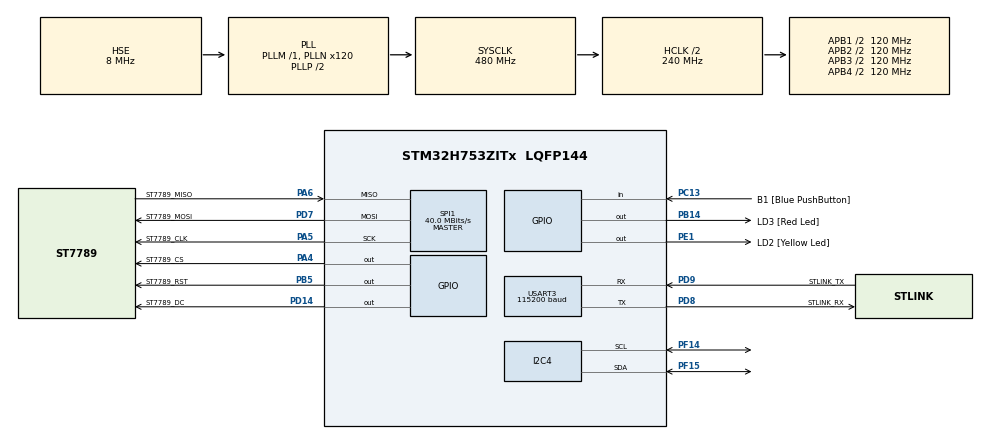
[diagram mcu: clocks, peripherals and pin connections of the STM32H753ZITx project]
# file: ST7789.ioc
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CORTEX_M7.CPU_DCache=Disabled
CORTEX_M7.CPU_ICache=Disabled
CORTEX_M7.MPU_Control=__NULL
Dma.Request0=SPI1_TX
Dma.SPI1_TX.0.Direction=DMA_MEMORY_TO_PERIPH
Dma.SPI1_TX.0.EventEnable=DISABLE
Dma.SPI1_TX.0.FIFOMode=DMA_FIFOMODE_ENABLE
Dma.SPI1_TX.0.FIFOThreshold=DMA_FIFO_THRESHOLD_FULL
Dma.SPI1_TX.0.Instance=DMA1_Stream0
Dma.SPI1_TX.0.MemBurst=DMA_MBURST_INC4
Dma.SPI1_TX.0.MemDataAlignment=DMA_MDATAALIGN_HALFWORD
Dma.SPI1_TX.0.MemInc=DMA_MINC_ENABLE
Dma.SPI1_TX.0.Mode=DMA_NORMAL
Dma.SPI1_TX.0.PeriphBurst=DMA_PBURST_INC4
Dma.SPI1_TX.0.PeriphDataAlignment=DMA_PDATAALIGN_HALFWORD
Dma.SPI1_TX.0.PeriphInc=DMA_PINC_DISABLE
Dma.SPI1_TX.0.Polarity=HAL_DMAMUX_REQ_GEN_RISING
Dma.SPI1_TX.0.Priority=DMA_PRIORITY_VERY_HIGH
Dma.SPI1_TX.0.RequestNumber=1
Dma.SPI1_TX.0.SignalID=NONE
Dma.SPI1_TX.0.SyncEnable=DISABLE
Dma.SPI1_TX.0.SyncPolarity=HAL_DMAMUX_SYNC_NO_EVENT
Dma.SPI1_TX.0.SyncRequestNumber=1
Dma.SPI1_TX.0.SyncSignalID=NONE
FREERTOS.Tasks01=defaultTask,24,1024,StartDefaultTask,Default,NULL,Static,defaultTaskBuffer,defaultTaskControlBlock;ST7789,32,1024,ST7789OsTask,Default,NULL,Static,ST7789Buffer,ST7789ControlBlock;MPU6050OsTask,32,1024,MPU6050OsTaskFunc,Default,NULL,Static,MPU6050OsTaskBuffer,MPU6050OsTaskControlBlock
FREERTOS.configENABLE_FPU=1
FREERTOS.configGENERATE_RUN_TIME_STATS=1
FREERTOS.configRECORD_STACK_HIGH_ADDRESS=1
I2C4.Timing=0x307075B1
Mcu.Family=STM32H7
Mcu.Name=STM32H753ZITx
Mcu.Package=LQFP144
NVIC.DMA1_Stream0_IRQn=true\:5\:0\:false\:false\:true\:true\:false\:true\:true
NVIC.PriorityGroup=NVIC_PRIORITYGROUP_4
NVIC.SPI1_IRQn=true\:5\:0\:false\:false\:true\:true\:false\:true\:true
NVIC.TIM17_IRQn=true\:5\:0\:true\:false\:true\:true\:true\:true\:true
NVIC.TIM6_DAC_IRQn=true\:15\:0\:false\:false\:true\:false\:false\:true\:true
NVIC.TimeBase=TIM6_DAC_IRQn
NVIC.TimeBaseIP=TIM6
PA13\ (JTMS/SWDIO).Mode=Serial_Wire
PA13\ (JTMS/SWDIO).Signal=DEBUG_JTMS-SWDIO
PA14\ (JTCK/SWCLK).Mode=Serial_Wire
PA14\ (JTCK/SWCLK).Signal=DEBUG_JTCK-SWCLK
PA4.GPIO_Label=ST7789_CS
PA4.GPIO_Speed=GPIO_SPEED_FREQ_VERY_HIGH
PA4.Signal=GPIO_Output
PA5.GPIO_Label=ST7789_CLK
PA5.GPIO_PuPd=GPIO_PULLUP
PA5.GPIO_Speed=GPIO_SPEED_FREQ_VERY_HIGH
PA5.Mode=Full_Duplex_Master
PA5.Signal=SPI1_SCK
PA6.GPIO_Label=ST7789_MISO
PA6.GPIO_Speed=GPIO_SPEED_FREQ_VERY_HIGH
PA6.Mode=Full_Duplex_Master
PA6.Signal=SPI1_MISO
PB14.GPIO_Label=LD3 [Red Led]
PB14.Signal=GPIO_Output
PB5.GPIO_Label=ST7789_RST
PB5.GPIO_Speed=GPIO_SPEED_FREQ_VERY_HIGH
PB5.Signal=GPIO_Output
PC13.GPIO_Label=B1 [Blue PushButton]
PC13.Signal=GPIO_Input
PC14-OSC32_IN\ (OSC32_IN).Mode=LSE-External-Oscillator
PC14-OSC32_IN\ (OSC32_IN).Signal=RCC_OSC32_IN
PC15-OSC32_OUT\ (OSC32_OUT).Mode=LSE-External-Oscillator
PC15-OSC32_OUT\ (OSC32_OUT).Signal=RCC_OSC32_OUT
PC7.Mode=External_Trigger_bidirectional
PC7.Signal=DEBUG_TRGIO
PD14.GPIO_Label=ST7789_DC
PD14.GPIO_Speed=GPIO_SPEED_FREQ_VERY_HIGH
PD14.Signal=GPIO_Output
PD7.GPIO_Label=ST7789_MOSI
PD7.GPIO_PuPd=GPIO_PULLUP
PD7.GPIO_Speed=GPIO_SPEED_FREQ_VERY_HIGH
PD7.Mode=Full_Duplex_Master
PD7.Signal=SPI1_MOSI
PD8.GPIO_Label=STLINK_RX
PD8.Mode=Asynchronous
PD8.Signal=USART3_TX
PD9.GPIO_Label=STLINK_TX
PD9.Mode=Asynchronous
PD9.Signal=USART3_RX
PE1.GPIO_Label=LD2 [Yellow Led]
PE1.Signal=GPIO_Output
PF14.Mode=I2C
PF14.Signal=I2C4_SCL
PF15.Mode=I2C
PF15.Signal=I2C4_SDA
PH0-OSC_IN\ (PH0).Mode=HSE-External-Clock-Source
PH0-OSC_IN\ (PH0).Signal=RCC_OSC_IN
ProjectManager.HeapSize=0x200
ProjectManager.StackSize=0x400
ProjectManager.TargetToolchain=Makefile
RCC.ADCFreq_Value=80000000
RCC.APB1Freq_Value=120000000
RCC.APB2Freq_Value=120000000
RCC.APB3Freq_Value=120000000
RCC.APB4Freq_Value=120000000
RCC.CortexFreq_Value=480000000
RCC.D1PPRE=RCC_APB3_DIV2
RCC.D2PPRE1=RCC_APB1_DIV2
RCC.D2PPRE2=RCC_APB2_DIV2
RCC.D3PPRE=RCC_APB4_DIV2
RCC.DIVM1=1
RCC.DIVM2=1
RCC.DIVM3=1
RCC.DIVN1=120
RCC.DIVN2=20
RCC.DIVN3=18
RCC.DIVP3=4
RCC.DIVQ1=20
RCC.HCLKFreq_Value=240000000
RCC.HPRE=RCC_HCLK_DIV2
RCC.HSE_VALUE=8000000
RCC.PLL2FRACN=0
RCC.PLL3FRACN=6144
RCC.PLLFRACN=0
RCC.PLLSourceVirtual=RCC_PLLSOURCE_HSE
RCC.SPI123CLockSelection=RCC_SPI123CLKSOURCE_PLL2
RCC.SYSCLKFreq_VALUE=480000000
RCC.SYSCLKSource=RCC_SYSCLKSOURCE_PLLCLK
RCC.USART234578CLockSelection=RCC_USART234578CLKSOURCE_PLL3
RCC.USBFreq_Value=48000000
SPI1.BaudRatePrescaler=SPI_BAUDRATEPRESCALER_2
SPI1.CalculateBaudRate=40.0 MBits/s
SPI1.DataSize=SPI_DATASIZE_16BIT
SPI1.Direction=SPI_DIRECTION_2LINES
SPI1.FifoThreshold=SPI_FIFO_THRESHOLD_16DATA
SPI1.Mode=SPI_MODE_MASTER
SPI1.VirtualType=VM_MASTER
TIM17.ClockDivision=TIM_CLOCKDIVISION_DIV4
TIM17.Period=65535
TIM17.Prescaler=299
USART3.AutoBaudRateEnableParam=UART_ADVFEATURE_AUTOBAUDRATE_DISABLE
USART3.BaudRate=115200
USART3.ClockPrescaler=PRESCALER_DIV1
USART3.DMADisableonRxErrorParam=ADVFEATURE_DMA_ENABLEONRXERROR
USART3.DataInvertParam=ADVFEATURE_DATAINV_DISABLE
USART3.FIFOMode=FIFOMODE_DISABLE
USART3.MSBFirstParam=ADVFEATURE_MSBFIRST_DISABLE
USART3.Mode=MODE_TX_RX
USART3.OneBitSampling=UART_ONE_BIT_SAMPLE_DISABLE
USART3.OverSampling=UART_OVERSAMPLING_16
USART3.OverrunDisableParam=ADVFEATURE_OVERRUN_ENABLE
USART3.Parity=PARITY_NONE
USART3.RXFIFOThreshold=RXFIFO_THRESHOLD_1EIGHTHFULL
USART3.RxPinLevelInvertParam=ADVFEATURE_RXINV_DISABLE
USART3.StopBits=STOPBITS_1
USART3.SwapParam=ADVFEATURE_SWAP_DISABLE
USART3.TXFIFOThreshold=TXFIFO_THRESHOLD_1EIGHTHFULL
USART3.TxPinLevelInvertParam=ADVFEATURE_TXINV_DISABLE
USART3.VirtualMode-Asynchronous=VM_ASYNC
USART3.WordLength=WORDLENGTH_8B
VP_FREERTOS_VS_CMSIS_V2.Mode=CMSIS_V2
VP_SYS_VS_tim6.Mode=TIM6
VP_TIM17_VS_ClockSourceINT.Mode=Enable_Timer
board=NUCLEO-H753ZI

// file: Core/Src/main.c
/* USER CODE BEGIN Header */
/**
 ******************************************************************************
 * @file           : main.c
 * @brief          : Main program body
 ******************************************************************************
 * @attention
 *
 * <h2><center>&copy; Copyright (c) 2022 STMicroelectronics.
 * All rights reserved.</center></h2>
 *
 * This software component is licensed by ST under BSD 3-Clause license,
 * the "License"; You may not use this file except in compliance with the
 * License. You may obtain a copy of the License at:
 *                        opensource.org/licenses/BSD-3-Clause
 *
 ******************************************************************************
 */
/* USER CODE END Header */
#include "main.h"
#include "cmsis_os.h"
#include "dma.h"
#include "i2c.h"
#include "spi.h"
#include "tim.h"
#include "usart.h"
#include "gpio.h"

/* USER CODE BEGIN Includes */
#include "ST7789.h"
#include "graphics.h"
#include "memmap.h"
// #include "picture.h"
/* USER CODE END Includes */

/* USER CODE BEGIN PV */

uint8_t *display = display_buffer0;
uint8_t *display_next = display_buffer1;
_ST7789_Refresh_State ST7789_Refresh_State;

extern DMA_HandleTypeDef hdma_spi1_tx;

uint32_t runtimeStatCount = 0;

/* USER CODE END PV */

void SystemClock_Config(void);
void MX_FREERTOS_Init(void);

int main(void)
{

  /* MCU Configuration--------------------------------------------------------*/

  /* Reset of all peripherals, Initializes the Flash interface and the Systick. */
  HAL_Init();

  /* Configure the system clock */
  SystemClock_Config();

  /* Initialize all configured peripherals */
  MX_GPIO_Init();
  MX_USART3_UART_Init();
  MX_DMA_Init();
  MX_SPI1_Init();
  MX_TIM17_Init();
  MX_I2C4_Init();
  /* USER CODE BEGIN 2 */
  Graphics_Init();
  //Graphics_Draw();
  //ST7789_SwitchBuffer();
  /* USER CODE END 2 */

  /* Init scheduler */
  osKernelInitialize();  /* Call init function for freertos objects (in freertos.c) */
  MX_FREERTOS_Init();

  /* Start scheduler */
  osKernelStart();

  /* We should never get here as control is now taken by the scheduler */
  /* Infinite loop */
  while (1)
  {

  }
}

void SystemClock_Config(void)
{
  RCC_OscInitTypeDef RCC_OscInitStruct = {0};
  RCC_ClkInitTypeDef RCC_ClkInitStruct = {0};

  /** Supply configuration update enable
  */
  HAL_PWREx_ConfigSupply(PWR_LDO_SUPPLY);

  /** Configure the main internal regulator output voltage
  */
  __HAL_PWR_VOLTAGESCALING_CONFIG(PWR_REGULATOR_VOLTAGE_SCALE1);

  while(!__HAL_PWR_GET_FLAG(PWR_FLAG_VOSRDY)) {}

  __HAL_RCC_SYSCFG_CLK_ENABLE();
  __HAL_PWR_VOLTAGESCALING_CONFIG(PWR_REGULATOR_VOLTAGE_SCALE0);

  while(!__HAL_PWR_GET_FLAG(PWR_FLAG_VOSRDY)) {}

  /** Macro to configure the PLL clock source
  */
  __HAL_RCC_PLL_PLLSOURCE_CONFIG(RCC_PLLSOURCE_HSE);

  /** Initializes the RCC Oscillators according to the specified parameters
  * in the RCC_OscInitTypeDef structure.
  */
  RCC_OscInitStruct.OscillatorType = RCC_OSCILLATORTYPE_HSE;
  RCC_OscInitStruct.HSEState = RCC_HSE_BYPASS;
  RCC_OscInitStruct.PLL.PLLState = RCC_PLL_ON;
  RCC_OscInitStruct.PLL.PLLSource = RCC_PLLSOURCE_HSE;
  RCC_OscInitStruct.PLL.PLLM = 1;
  RCC_OscInitStruct.PLL.PLLN = 120;
  RCC_OscInitStruct.PLL.PLLP = 2;
  RCC_OscInitStruct.PLL.PLLQ = 20;
  RCC_OscInitStruct.PLL.PLLR = 2;
  RCC_OscInitStruct.PLL.PLLRGE = RCC_PLL1VCIRANGE_3;
  RCC_OscInitStruct.PLL.PLLVCOSEL = RCC_PLL1VCOWIDE;
  RCC_OscInitStruct.PLL.PLLFRACN = 0;
  if (HAL_RCC_OscConfig(&RCC_OscInitStruct) != HAL_OK)
  {
    Error_Handler();
  }

  /** Initializes the CPU, AHB and APB buses clocks
  */
  RCC_ClkInitStruct.ClockType = RCC_CLOCKTYPE_HCLK|RCC_CLOCKTYPE_SYSCLK
                              |RCC_CLOCKTYPE_PCLK1|RCC_CLOCKTYPE_PCLK2
                              |RCC_CLOCKTYPE_D3PCLK1|RCC_CLOCKTYPE_D1PCLK1;
  RCC_ClkInitStruct.SYSCLKSource = RCC_SYSCLKSOURCE_PLLCLK;
  RCC_ClkInitStruct.SYSCLKDivider = RCC_SYSCLK_DIV1;
  RCC_ClkInitStruct.AHBCLKDivider = RCC_HCLK_DIV2;
  RCC_ClkInitStruct.APB3CLKDivider = RCC_APB3_DIV2;
  RCC_ClkInitStruct.APB1CLKDivider = RCC_APB1_DIV2;
  RCC_ClkInitStruct.APB2CLKDivider = RCC_APB2_DIV2;
  RCC_ClkInitStruct.APB4CLKDivider = RCC_APB4_DIV2;

  if (HAL_RCC_ClockConfig(&RCC_ClkInitStruct, FLASH_LATENCY_4) != HAL_OK)
  {
    Error_Handler();
  }
}

void HAL_TIM_PeriodElapsedCallback(TIM_HandleTypeDef *htim)
{
  if (htim->Instance == TIM6) {
    HAL_IncTick();
  }
  /* USER CODE BEGIN Callback 1 */
  if (htim->Instance == TIM17) {
    runtimeStatCount++;
  }
  /* USER CODE END Callback 1 */
}

void Error_Handler(void)
{
  __disable_irq();
  while (1)
  {
  }
}

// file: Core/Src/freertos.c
/* USER CODE BEGIN Header */
/**
 ******************************************************************************
 * File Name          : freertos.c
 * Description        : Code for freertos applications
 ******************************************************************************
 * @attention
 *
 * Copyright (c) 2023 STMicroelectronics.
 * All rights reserved.
 *
 * This software is licensed under terms that can be found in the LICENSE file
 * in the root directory of this software component.
 * If no LICENSE file comes with this software, it is provided AS-IS.
 *
 ******************************************************************************
 */
/* USER CODE END Header */

#include "FreeRTOS.h"
#include "task.h"
#include "main.h"
#include "cmsis_os.h"
#include "semphr.h"

/* USER CODE BEGIN Includes */
#include "tim.h"
#include "graphics.h"
#include "ST7789_Driver.h"
#include "MPU6050_Driver.h"
#include "Complementary_Filter.h"
#include "i2c_detect.h"
#include "string.h"
#include "stdio.h"
#include "math.h"
#include "gpio_abstraction.h"
/* USER CODE END Includes */

typedef StaticTask_t osStaticThreadDef_t;
/* USER CODE BEGIN PTD */
extern uint8_t display_buffer0[115200];
extern uint8_t display_buffer1[115200];
extern I2C_HandleTypeDef hi2c4;
extern UART_HandleTypeDef huart3;
SemaphoreHandle_t orientation_data_semaphore = NULL;
/* USER CODE END PTD */

/* USER CODE BEGIN Variables */
MPU6050_AccelData accelerometer;
MPU6050_GyroData gyroscope;
Orientation_Data_t orientation_data;
/* USER CODE END Variables */
/* Definitions for defaultTask */
osThreadId_t defaultTaskHandle;
uint32_t defaultTaskBuffer[ 1024 ];
osStaticThreadDef_t defaultTaskControlBlock;
const osThreadAttr_t defaultTask_attributes = {
  .name = "defaultTask",
  .cb_mem = &defaultTaskControlBlock,
  .cb_size = sizeof(defaultTaskControlBlock),
  .stack_mem = &defaultTaskBuffer[0],
  .stack_size = sizeof(defaultTaskBuffer),
  .priority = (osPriority_t) osPriorityNormal,
};
/* Definitions for ST7789 */
osThreadId_t ST7789Handle;
uint32_t ST7789Buffer[ 1024 ];
osStaticThreadDef_t ST7789ControlBlock;
const osThreadAttr_t ST7789_attributes = {
  .name = "ST7789",
  .cb_mem = &ST7789ControlBlock,
  .cb_size = sizeof(ST7789ControlBlock),
  .stack_mem = &ST7789Buffer[0],
  .stack_size = sizeof(ST7789Buffer),
  .priority = (osPriority_t) osPriorityAboveNormal,
};
/* Definitions for MPU6050OsTask */
osThreadId_t MPU6050OsTaskHandle;
uint32_t MPU6050OsTaskBuffer[ 1024 ];
osStaticThreadDef_t MPU6050OsTaskControlBlock;
const osThreadAttr_t MPU6050OsTask_attributes = {
  .name = "MPU6050OsTask",
  .cb_mem = &MPU6050OsTaskControlBlock,
  .cb_size = sizeof(MPU6050OsTaskControlBlock),
  .stack_mem = &MPU6050OsTaskBuffer[0],
  .stack_size = sizeof(MPU6050OsTaskBuffer),
  .priority = (osPriority_t) osPriorityAboveNormal,
};

void StartDefaultTask(void *argument);
void ST7789OsTask(void *argument);
void MPU6050OsTaskFunc(void *argument);

void MX_FREERTOS_Init(void); /* (MISRA C 2004 rule 8.1) */

/* Hook prototypes */
void configureTimerForRunTimeStats(void);
unsigned long getRunTimeCounterValue(void);

/* USER CODE BEGIN 1 */
/* Functions needed when configGENERATE_RUN_TIME_STATS is on */
extern uint32_t runtimeStatCount;
__weak void configureTimerForRunTimeStats(void)
{
    HAL_TIM_Base_Start_IT(&htim17);
}

__weak unsigned long getRunTimeCounterValue(void)
{
    return runtimeStatCount;
}
/* USER CODE END 1 */

void MX_FREERTOS_Init(void) {

  orientation_data_semaphore = xSemaphoreCreateBinary();
  xSemaphoreGive(orientation_data_semaphore);

  /* Create the thread(s) */
  /* creation of defaultTask */
  defaultTaskHandle = osThreadNew(StartDefaultTask, NULL, &defaultTask_attributes);

  /* creation of ST7789 */
  ST7789Handle = osThreadNew(ST7789OsTask, NULL, &ST7789_attributes);

  /* creation of MPU6050OsTask */
  MPU6050OsTaskHandle = osThreadNew(MPU6050OsTaskFunc, NULL, &MPU6050OsTask_attributes);

}

void StartDefaultTask(void *argument)
{
  /* USER CODE BEGIN StartDefaultTask */
    /* Infinite loop */
    (void)argument;
    for (;;)
    {
        osDelay(1);
    }
  /* USER CODE END StartDefaultTask */
}

void ST7789OsTask(void *argument)
{
  /* USER CODE BEGIN ST7789OsTask */
    volatile ST7789_InitStructure_Type ST7789_InitStructure = {
      .COLMOD = {
        .control_format = ST7789_COLMOD_16bit,
        .D3 = 0u,
        .rgb_format = ST7789_COLMOD_65K,
        .D7 = 0u
      },
      .MADCTL.byte = 0x00u,
      .CASET = {
        .bytes = {
          0u, 0u, 0u, 239u
        }
      },
      .RASET = {
        .bytes = {
          0u, 0u, 0u, 239u
        }
      }
    };

    gpio_rst_write(PIN_RESET);
    osDelay(100);
    gpio_rst_write(PIN_SET);
    osDelay(100);

    ST7789_Driver_Init(ST7789_InitStructure);

    /* Infinite loop */
    (void)argument;
    for (;;)
    {
        ST7789_WriteData(display_buffer0, 57600u);
        ST7789_WriteData(display_buffer0 + 57600u, 57600u);
        Orientation_Data_t orientation_data_local;
        xSemaphoreTake(orientation_data_semaphore, portMAX_DELAY);
        orientation_data_local = orientation_data;
        xSemaphoreGive(orientation_data_semaphore);
        Graphics_Draw(orientation_data_local);
        osDelay(40);
    }
  /* USER CODE END ST7789OsTask */
}

void MPU6050OsTaskFunc(void *argument)
{
  /* USER CODE BEGIN MPU6050OsTaskFunc */
    (void)argument;
    MPU6050_Init(0);
    Complementary_Filter_InitFilter();
    /* Infinite loop */
    for (;;)
    {
        MPU6050_Read_Accelerometer(&accelerometer);
        MPU6050_Read_Gyroscope(&gyroscope);

        float acc[3];
        float gyro[3];

        acc[0] = ((float)accelerometer.X) / 32768.0f * 2.0f * 9.81f;
        acc[1] = ((float)accelerometer.Y) / 32768.0f * 2.0f * 9.81f;
        acc[2] = ((float)accelerometer.Z) / 32768.0f * 2.0f * 9.81f;

        gyro[0] = ((float)gyroscope.X) / 32768.0f * 250.0f * 3.14f / 180.0f;
        gyro[1] = ((float)gyroscope.Y) / 32768.0f * 250.0f * 3.14f / 180.0f;
        gyro[2] = ((float)gyroscope.Z) / 32768.0f * 250.0f * 3.14f / 180.0f;

        Complementary_Filter_UpdateFilter(acc, gyro);

        xSemaphoreTake(orientation_data_semaphore, portMAX_DELAY);
        orientation_data = Complementary_Filter_GetOrientationData();
        xSemaphoreGive(orientation_data_semaphore);

        //uint8_t buffer[100];
        //sprintf((char *)buffer, "%f %f %f %f %f %f %f %f\r\n", acc[0], acc[1], acc[2], gyro[0], gyro[1], gyro[2], orientation_data.phiHat, orientation_data.thetaHat);
        printf("%f %f %f %f %f %f %f %f\r\n", acc[0], acc[1], acc[2], gyro[0], gyro[1], gyro[2], orientation_data.phiHat, orientation_data.thetaHat);

        //HAL_UART_Transmit(&huart3, (const uint8_t *)buffer, strlen((const char *)buffer), 1000);

        osDelay(10);
    }
  /* USER CODE END MPU6050OsTaskFunc */
}
